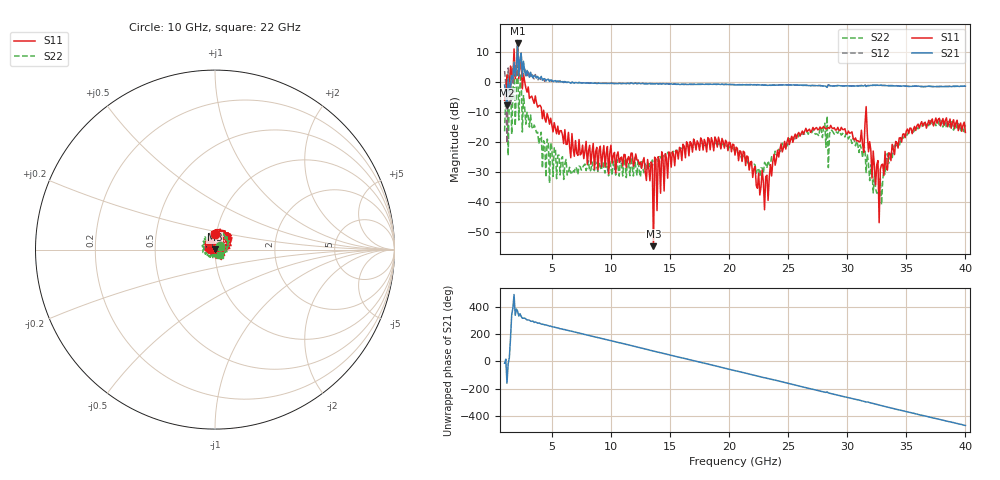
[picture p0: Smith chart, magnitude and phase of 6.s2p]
!Keysight Technologies,N5224A,MY55441802,A.10.65.16
!Date: Wednesday, May 13, 2026 19:19:54
!Correction: S11(Full 2 Port(1,2))
!S21(Full 2 Port(1,2))
!S12(Full 2 Port(1,2))
!S22(Full 2 Port(1,2))
!S2P File: Measurements: S11, S21, S12, S22:
# Hz S  dB  R 50
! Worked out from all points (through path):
!   391 points, 1 GHz to 40 GHz, reference 50 ohm
!   highest |S21| = 12.83 dB at 2.1 GHz (marker M1); lowest = -7.8 dB at 1.2 GHz (marker M2)
!   lowest |S11| = -54.6 dB at 13.6 GHz (marker M3), VSWR 1.00, Z = 50 + j0.181 ohm
!   |S11| at or under -10 dB: 4.14 GHz to 4.28 GHz (139.9 MHz wide, 3.32 % of centre); 4.32 GHz to 31.57 GHz (27.25 GHz wide, 152 % of centre); 31.62 GHz to end of sweep
!   |S22| runs from -40.8 to 8.3 dB; largest |S21 - S12| = 0.95
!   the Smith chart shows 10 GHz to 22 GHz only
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1e9  -6.16 -44.8  -1.10 -12.8  3.56 -8.4  -16.42 -37.7
1.2e9  2.28 -2.5  -7.83 -158.9  -20.27 -119.2  1.01 -21.8
1.4e9  -1.09 155.2  -2.99 27.0  -1.39 2.0  -5.11 31.9
1.5e9  5.23 -11.3  -0.81 169.8  -7.99 168.7  2.93 -31.1
1.7e9  1.22 140.0  1.02 29.7  -0.72 2.6  -3.65 8.5
1.8e9  10.91 -35.8  6.56 129.1  3.95 123.8  6.90 -58.8
1.9e9  1.03 -27.0  1.96 -22.3  3.97 -20.0  -14.66 46.1
2e9  4.96 121.7  4.84 22.6  1.58 4.7  -1.30 -14.1
2.1e9  13.72 -157.8  12.83 8.2  11.92 -2.8  8.25 -174.1
2.2e9  1.05 -33.7  1.91 -27.7  3.51 -26.9  -12.70 39.3
2.3e9  5.17 74.0  7.66 -11.2  3.70 -21.7  -1.06 -56.7
2.4e9  9.46 162.1  9.53 -30.4  9.31 -38.3  2.81 144.9
2.6e9  2.63 34.1  6.78 -44.3  3.55 -47.8  -4.61 -102.8
2.7e9  0.03 154.8  3.50 -43.7  4.25 -49.6  -8.72 145.1
2.9e9  -3.44 16.0  3.77 -57.2  1.99 -59.0  -10.13 -110.4
7.5e9  -23.80 61.8  -0.38 -156.8  -0.32 -156.2  -29.31 82.4
1.36e10  -54.55 104.4  -0.67 76.1  -0.66 75.7  -26.89 -125.9
1.4e10  -24.87 133.9  -0.72 67.6  -0.68 67.8  -26.37 -148.9
2.05e10  -24.36 18.1  -1.03 -67.2  -0.93 -67.2  -23.87 13.5
2.7e10  -16.18 46.1  -1.25 158.0  -1.20 158.1  -16.90 76.1
3.35e10  -23.60 62.6  -1.27 24.4  -1.26 24.3  -27.12 112.3
4e10  -16.81 -19.9  -1.44 -107.9  -1.47 -108.6  -14.53 -21.4
